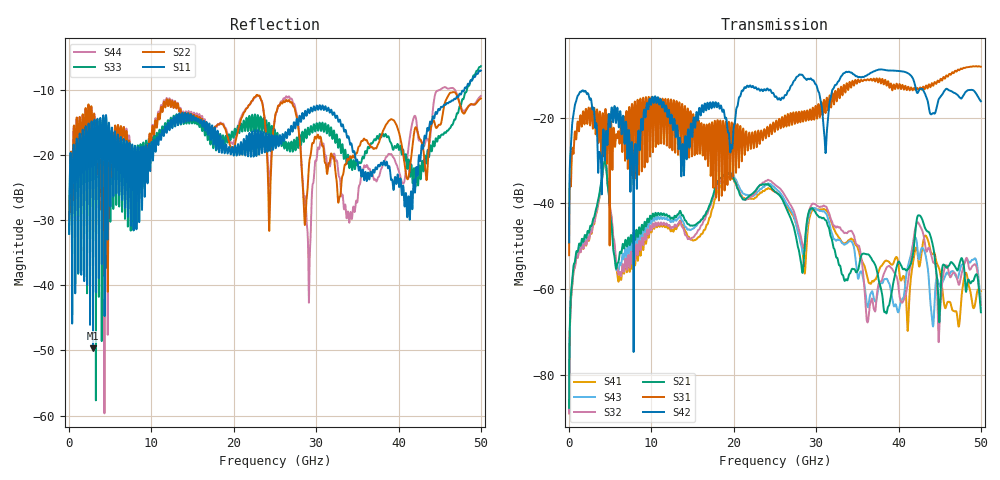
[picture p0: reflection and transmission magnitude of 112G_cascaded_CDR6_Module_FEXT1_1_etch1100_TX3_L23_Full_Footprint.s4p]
! Created Tue Feb 26 13:58:50 2019
# hz S ma R 50
! 4 Port Network Data from SP1.SP block
! freq  magS11  angS11  magS12  angS12  magS13  angS13  magS14  angS14
!  magS21  angS21  magS22  angS22  magS23  angS23  magS24  angS24
!  magS31  angS31  magS32  angS32  magS33  angS33  magS34  angS34
!  magS41  angS41  magS42  angS42  magS43  angS43  magS44  angS44
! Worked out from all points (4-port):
!   5000 points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, 10 MHz to 50 GHz, reference 50 ohm
!   strongest paths, dB at 10 MHz, 12.51 GHz, 25.01 GHz, 37.51 GHz, 50 GHz:
!     S42: -49.1, -20.1, -15.1, -8.8, -16.1
!     S31: -52.1, -23.3, -23.0, -11.7, -8.1
!     S21: -87.7, -43.3, -37.3, -56.9, -65.4
!     S32: -89.0, -45.5, -35.7, -59.4, -63.6
!     S43: -88.5, -44.1, -36.4, -60.4, -63.1
!     S41: -89.0, -46.1, -37.3, -56.3, -60.5
!   lowest |S11| = -49.7 dB at 2.91 GHz (marker M1), VSWR 1.01, Z = 49.8 + j0.252 ohm
!   |S11| at or under -10 dB: start of sweep to 47.95 GHz
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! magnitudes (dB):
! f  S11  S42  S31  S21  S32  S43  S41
! 10 MHz  -32.1  -49.1  -52.1  -87.7  -89.0  -88.5  -89.0
! 850 MHz  -19.8  -16.2  -25.0  -51.6  -52.9  -52.4  -52.9
! 2.91 GHz  -49.7  -17.8  -22.4  -43.7  -44.9  -44.5  -45.1
! 26.83 GHz  -16.6  -13.0  -19.9  -43.1  -40.1  -41.2  -41.7
! 29.12 GHz  -13.3  -11.0  -20.3  -41.9  -42.0  -42.9  -44.1
! 41.21 GHz  -26.3  -9.7  -12.8  -55.2  -57.5  -54.1  -66.5
! 50 GHz  -6.9  -16.1  -8.1  -65.4  -63.6  -63.1  -60.5
